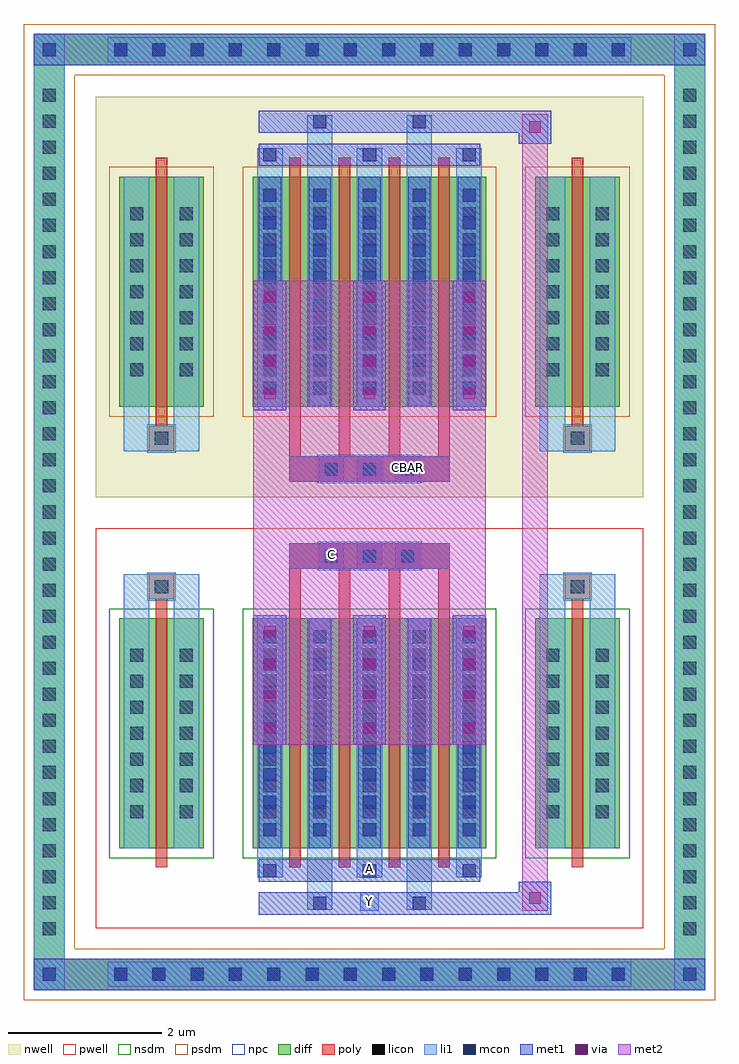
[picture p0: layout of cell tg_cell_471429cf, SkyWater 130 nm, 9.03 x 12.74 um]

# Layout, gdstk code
import gdstk
lib = gdstk.Library(unit=1e-6, precision=5e-09)
def R(c, l, rs):  # rectangles x0, y0, x1, y1
    for r in rs: c.add(gdstk.rectangle(r[:2], r[2:], *l))
def A(c, l, x, y, w, h, nx, ny, dx, dy):  # array of equal rectangles
    R(c, l, [(x+i*dx, y+j*dy, x+i*dx+w, y+j*dy+h) for i in range(nx) for j in range(ny)])
def P(c, l, *ps):  # polygons
    for p in ps: c.add(gdstk.Polygon(p, *l))
nwell = (64, 20)
pwell = (64, 44)
diff = (65, 20)
poly = (66, 20)
licon = (66, 44)
li1 = (67, 20)
mcon = (67, 44)
met1 = (68, 20)
via = (68, 44)
met2 = (69, 20)
nsdm = (93, 44)
psdm = (94, 20)
npc = (95, 20)

tg_cell_471429cf = lib.new_cell('tg_cell_471429cf')
R(tg_cell_471429cf, nwell, [(-3.575,3.015,3.575,8.24)])
R(tg_cell_471429cf, pwell, [(-3.575,-2.615,3.575,2.61)])
A(tg_cell_471429cf, diff, -3.455, -3.42, 0.41, 0.41, 14, 2, 0.5, 12.07)
A(tg_cell_471429cf, diff, -4.385, -2.825, 0.41, 0.41, 1, 33, 0, 0.34)
A(tg_cell_471429cf, diff, 3.975, -2.825, 0.41, 0.41, 1, 33, 0, 0.34)
R(tg_cell_471429cf, diff, [(-3.455,-3.42,3.455,-3.01), (-4.385,-2.825,-3.975,8.465), (3.975,-2.825,4.385,8.465), (-3.265,-1.57,-2.165,1.43), (-1.525,-1.57,1.525,1.43), (2.165,-1.57,3.265,1.43), (-3.265,4.195,-2.165,7.195), (-1.525,4.195,1.525,7.195), (2.165,4.195,3.265,7.195), (-3.455,8.65,3.455,9.06)])
P(tg_cell_471429cf, diff, [(4.385,9.06),(-4.385,9.06),(-4.385,-3.01),(-3.975,-3.01),(-3.975,8.65),(3.975,8.65),(3.975,-3.01),(-3.975,-3.01),(-4.385,-3.01),(-4.385,-3.42),(4.385,-3.42)])
A(tg_cell_471429cf, poly, -1.05, -1.82, 0.15, 3.5, 4, 2, 0.65, 5.765)
A(tg_cell_471429cf, poly, -1.05, 1.68, 0.15, 0.4, 4, 2, 0.65, 1.865)
A(tg_cell_471429cf, poly, -0.665, 2.08, 0.33, 0.33, 3, 2, 0.5, 1.135)
R(tg_cell_471429cf, poly, [(-2.79,-1.82,-2.64,1.68), (2.64,-1.82,2.79,1.68), (-2.88,1.68,-2.55,2.01), (-2.88,1.68,-2.55,2.01), (2.55,1.68,2.88,2.01), (2.55,1.68,2.88,2.01), (-1.05,2.08,1.05,2.41), (-1.05,3.215,1.05,3.545), (-2.88,3.615,-2.55,3.945), (-2.88,3.615,-2.55,3.945), (2.55,3.615,2.88,3.945), (2.55,3.615,2.88,3.945), (-2.79,3.945,-2.64,7.445), (2.64,3.945,2.79,7.445)])
A(tg_cell_471429cf, licon, -3.335, -3.3, 0.17, 0.17, 14, 2, 0.5, 12.07)
A(tg_cell_471429cf, licon, -4.265, -2.705, 0.17, 0.17, 1, 33, 0, 0.34)
A(tg_cell_471429cf, licon, 4.095, -2.705, 0.17, 0.17, 1, 33, 0, 0.34)
A(tg_cell_471429cf, licon, -3.125, -1.175, 0.17, 0.17, 1, 7, 0, 0.34)
A(tg_cell_471429cf, licon, -2.475, -1.175, 0.17, 0.17, 1, 7, 0, 0.34)
A(tg_cell_471429cf, licon, -1.385, -1.175, 0.17, 0.17, 5, 7, 0.65, 0.34)
A(tg_cell_471429cf, licon, 2.305, -1.175, 0.17, 0.17, 1, 7, 0, 0.34)
A(tg_cell_471429cf, licon, 2.955, -1.175, 0.17, 0.17, 1, 7, 0, 0.34)
A(tg_cell_471429cf, licon, -0.585, 2.16, 0.17, 0.17, 3, 2, 0.5, 1.135)
A(tg_cell_471429cf, licon, -3.125, 4.59, 0.17, 0.17, 1, 7, 0, 0.34)
A(tg_cell_471429cf, licon, -2.475, 4.59, 0.17, 0.17, 1, 7, 0, 0.34)
A(tg_cell_471429cf, licon, -1.385, 4.59, 0.17, 0.17, 5, 7, 0.65, 0.34)
A(tg_cell_471429cf, licon, 2.305, 4.59, 0.17, 0.17, 1, 7, 0, 0.34)
A(tg_cell_471429cf, licon, 2.955, 4.59, 0.17, 0.17, 1, 7, 0, 0.34)
R(tg_cell_471429cf, licon, [(-2.8,1.76,-2.63,1.93), (2.63,1.76,2.8,1.93), (-2.8,3.695,-2.63,3.865), (2.63,3.695,2.8,3.865)])
A(tg_cell_471429cf, li1, -3.415, -3.38, 0.33, 0.33, 14, 2, 0.5, 12.07)
A(tg_cell_471429cf, li1, -4.345, -2.785, 0.33, 0.33, 1, 33, 0, 0.34)
A(tg_cell_471429cf, li1, 4.015, -2.785, 0.33, 0.33, 1, 33, 0, 0.34)
A(tg_cell_471429cf, li1, -1.465, -1.945, 0.33, 0.375, 3, 2, 1.3, 9.14)
A(tg_cell_471429cf, li1, -1.385, -1.945, 0.17, 0.17, 3, 2, 1.3, 9.345)
A(tg_cell_471429cf, li1, -1.465, -1.57, 0.33, 3, 5, 2, 0.65, 5.765)
A(tg_cell_471429cf, li1, -1.385, -1.415, 0.17, 0.17, 5, 8, 0.65, 0.36)
A(tg_cell_471429cf, li1, -1.385, -1.415, 0.17, 2.69, 5, 2, 0.65, 5.765)
A(tg_cell_471429cf, li1, -3.205, -1.255, 0.33, 0.33, 1, 7, 0, 0.34)
A(tg_cell_471429cf, li1, -2.555, -1.255, 0.33, 0.33, 1, 7, 0, 0.34)
A(tg_cell_471429cf, li1, -1.465, -1.255, 0.33, 0.33, 5, 7, 0.65, 0.34)
A(tg_cell_471429cf, li1, 2.225, -1.255, 0.33, 0.33, 1, 7, 0, 0.34)
A(tg_cell_471429cf, li1, 2.875, -1.255, 0.33, 0.33, 1, 7, 0, 0.34)
A(tg_cell_471429cf, li1, -0.665, 2.08, 0.33, 0.33, 3, 2, 0.5, 1.135)
A(tg_cell_471429cf, li1, -1.385, 4.35, 0.17, 0.17, 5, 8, 0.65, 0.36)
A(tg_cell_471429cf, li1, -3.205, 4.51, 0.33, 0.33, 1, 7, 0, 0.34)
A(tg_cell_471429cf, li1, -2.555, 4.51, 0.33, 0.33, 1, 7, 0, 0.34)
A(tg_cell_471429cf, li1, -1.465, 4.51, 0.33, 0.33, 5, 7, 0.65, 0.34)
A(tg_cell_471429cf, li1, 2.225, 4.51, 0.33, 0.33, 1, 7, 0, 0.34)
A(tg_cell_471429cf, li1, 2.875, 4.51, 0.33, 0.33, 1, 7, 0, 0.34)
R(tg_cell_471429cf, li1, [(-4.385,-3.42,-3.975,-3.01), (3.975,-3.42,4.385,-3.01), (-3.415,-3.38,3.415,-3.05), (-4.265,-3.3,-4.095,-3.13), (-4.265,-3.3,-4.095,-3.13), (4.095,-3.3,4.265,-3.13), (4.095,-3.3,4.265,-3.13), (-4.385,-3.01,-3.975,8.65), (3.975,-3.01,4.385,8.65), (-0.12,-2.385,0.12,-2.145), (-0.815,-2.375,-0.485,-1.57), (-0.735,-2.375,-0.565,-2.205), (0.485,-2.375,0.815,-1.57), (0.565,-2.375,0.735,-2.205), (-0.12,-1.955,0.12,-1.715), (-3.205,-1.57,-2.875,1.43), (-2.555,-1.57,-2.225,1.43), (2.225,-1.57,2.555,1.43), (2.875,-1.57,3.205,1.43), (-3.205,1.43,-2.875,2.01), (-2.555,1.43,-2.225,2.01), (2.225,1.43,2.555,2.01), (2.875,1.43,3.205,2.01), (-3.205,1.68,-2.88,2.01), (-2.88,1.68,-2.55,2.01), (-2.55,1.68,-2.225,2.01), (2.225,1.68,2.55,2.01), (2.55,1.68,2.88,2.01), (2.88,1.68,3.205,2.01), (-0.62,2.15,-0.38,2.39), (0.38,3.285,0.62,3.525), (-3.205,3.615,-2.88,3.945), (-3.205,3.615,-2.875,4.195), (-2.88,3.615,-2.55,3.945), (-2.555,3.615,-2.225,4.195), (-2.55,3.615,-2.225,3.945), (2.225,3.615,2.55,3.945), (2.225,3.615,2.555,4.195), (2.55,3.615,2.88,3.945), (2.875,3.615,3.205,4.195), (2.88,3.615,3.205,3.945), (-3.205,4.195,-2.875,7.195), (-2.555,4.195,-2.225,7.195), (2.225,4.195,2.555,7.195), (2.875,4.195,3.205,7.195), (-0.815,7.195,-0.485,8), (0.485,7.195,0.815,8), (-0.735,7.83,-0.565,8), (0.565,7.83,0.735,8), (-4.385,8.65,-3.975,9.06), (3.975,8.65,4.385,9.06), (-3.415,8.69,3.415,9.02), (-4.265,8.77,-4.095,8.94), (-4.265,8.77,-4.095,8.94), (4.095,8.77,4.265,8.94), (4.095,8.77,4.265,8.94)])
A(tg_cell_471429cf, mcon, -3.335, -3.3, 0.17, 0.17, 14, 2, 0.5, 12.07)
A(tg_cell_471429cf, mcon, -1.385, -1.945, 0.17, 0.17, 3, 2, 1.3, 9.345)
A(tg_cell_471429cf, mcon, -1.385, -1.415, 0.17, 0.17, 5, 8, 0.65, 0.36)
A(tg_cell_471429cf, mcon, -0.585, 2.16, 0.17, 0.17, 3, 2, 0.5, 1.135)
A(tg_cell_471429cf, mcon, -1.385, 4.35, 0.17, 0.17, 5, 8, 0.65, 0.36)
R(tg_cell_471429cf, mcon, [(-4.265,-3.3,-4.095,-3.13), (4.095,-3.3,4.265,-3.13), (-0.735,-2.375,-0.565,-2.205), (0.565,-2.375,0.735,-2.205), (-0.735,7.83,-0.565,8), (0.565,7.83,0.735,8), (-4.265,8.77,-4.095,8.94), (4.095,8.77,4.265,8.94)])
A(tg_cell_471429cf, met1, -3.395, -3.36, 0.29, 0.29, 14, 2, 0.5, 12.07)
A(tg_cell_471429cf, met1, -1.445, -2.005, 0.29, 0.29, 3, 2, 1.3, 9.345)
A(tg_cell_471429cf, met1, -1.445, -1.57, 0.29, 3, 5, 2, 0.65, 5.765)
A(tg_cell_471429cf, met1, -1.445, -1.475, 0.29, 0.29, 5, 8, 0.65, 0.36)
A(tg_cell_471429cf, met1, -0.645, 2.1, 0.29, 0.29, 3, 2, 0.5, 1.135)
A(tg_cell_471429cf, met1, -1.445, 4.29, 0.29, 0.29, 5, 8, 0.65, 0.36)
R(tg_cell_471429cf, met1, [(-4.385,-3.42,-3.975,-3.01), (-4.385,-3.42,-3.975,-3.01), (-3.975,-3.42,3.975,-3.01), (3.975,-3.42,4.385,-3.01), (3.975,-3.42,4.385,-3.01), (-4.325,-3.36,-4.035,-3.07), (4.035,-3.36,4.325,-3.07), (-1.445,-2.435,1.445,-2.145), (-0.795,-2.435,-0.505,-2.145), (0.505,-2.435,0.795,-2.145), (1.445,-2.435,2.375,-2.145), (1.945,-2.435,2.375,-2.005), (-1.445,-2.005,1.445,-1.715), (-1.515,-0.215,-1.085,0.215), (-1.515,-0.215,-1.085,0.215), (-0.215,-0.215,0.215,0.215), (-0.215,-0.215,0.215,0.215), (1.085,-0.215,1.515,0.215), (1.085,-0.215,1.515,0.215), (-1.515,0.205,-1.085,0.635), (-1.515,0.205,-1.085,0.635), (-0.215,0.205,0.215,0.635), (-0.215,0.205,0.215,0.635), (1.085,0.205,1.515,0.635), (1.085,0.205,1.515,0.635), (-1.515,0.625,-1.085,1.055), (-1.515,0.625,-1.085,1.055), (-0.215,0.625,0.215,1.055), (-0.215,0.625,0.215,1.055), (1.085,0.625,1.515,1.055), (1.085,0.625,1.515,1.055), (-1.515,1.045,-1.085,1.475), (-1.515,1.045,-1.085,1.475), (-0.215,1.045,0.215,1.475), (-0.215,1.045,0.215,1.475), (1.085,1.045,1.515,1.475), (1.085,1.045,1.515,1.475), (-1.05,2.08,1.05,2.41), (-1.05,3.215,1.05,3.545), (-1.515,4.15,-1.085,4.58), (-1.515,4.15,-1.085,4.58), (-0.215,4.15,0.215,4.58), (-0.215,4.15,0.215,4.58), (1.085,4.15,1.515,4.58), (1.085,4.15,1.515,4.58), (-1.515,4.57,-1.085,5), (-1.515,4.57,-1.085,5), (-0.215,4.57,0.215,5), (-0.215,4.57,0.215,5), (1.085,4.57,1.515,5), (1.085,4.57,1.515,5), (-1.515,4.99,-1.085,5.42), (-1.515,4.99,-1.085,5.42), (-0.215,4.99,0.215,5.42), (-0.215,4.99,0.215,5.42), (1.085,4.99,1.515,5.42), (1.085,4.99,1.515,5.42), (-1.515,5.41,-1.085,5.84), (-1.515,5.41,-1.085,5.84), (-0.215,5.41,0.215,5.84), (-0.215,5.41,0.215,5.84), (1.085,5.41,1.515,5.84), (1.085,5.41,1.515,5.84), (-1.445,7.34,1.445,7.63), (1.945,7.63,2.375,8.06), (-1.445,7.77,1.445,8.06), (-0.795,7.77,-0.505,8.06), (0.505,7.77,0.795,8.06), (1.445,7.77,2.375,8.06), (-4.385,8.65,-3.975,9.06), (-4.385,8.65,-3.975,9.06), (-3.975,8.65,3.975,9.06), (3.975,8.65,4.385,9.06), (3.975,8.65,4.385,9.06), (-4.325,8.71,-4.035,9), (4.035,8.71,4.325,9)])
A(tg_cell_471429cf, via, -1.375, -0.075, 0.15, 0.15, 3, 4, 1.3, 0.42)
A(tg_cell_471429cf, via, -1.375, 4.29, 0.15, 0.15, 3, 4, 1.3, 0.42)
R(tg_cell_471429cf, via, [(2.085,-2.295,2.235,-2.145), (2.085,7.77,2.235,7.92)])
A(tg_cell_471429cf, met2, -1.515, -0.215, 0.43, 0.43, 3, 4, 1.3, 0.42)
A(tg_cell_471429cf, met2, -1.465, -0.165, 0.33, 0.33, 3, 4, 1.3, 0.42)
A(tg_cell_471429cf, met2, -1.515, 4.15, 0.43, 0.43, 3, 4, 1.3, 0.42)
A(tg_cell_471429cf, met2, -1.465, 4.2, 0.33, 0.33, 3, 4, 1.3, 0.42)
R(tg_cell_471429cf, met2, [(1.995,-2.385,2.325,-2.055), (1.995,-2.385,2.325,8.01), (-1.515,-0.215,1.515,5.84), (1.995,7.68,2.325,8.01)])
P(tg_cell_471429cf, met2, [(2.325,-2.385),(2.325,-2.385),(2.325,-2.055),(2.325,-2.055)],
  [(2.325,7.68),(2.325,7.68),(2.325,8.01),(2.325,8.01)])
R(tg_cell_471429cf, nsdm, [(-3.395,-1.7,-2.035,1.56), (-1.655,-1.7,1.655,1.56), (2.035,-1.7,3.395,1.56)])
R(tg_cell_471429cf, psdm, [(-3.395,4.065,-2.035,7.325), (-1.655,4.065,1.655,7.325), (2.035,4.065,3.395,7.325)])
P(tg_cell_471429cf, psdm, [(4.515,9.19),(-4.515,9.19),(-4.515,-2.88),(-3.845,-2.88),(-3.845,8.52),(3.845,8.52),(3.845,-2.88),(-3.845,-2.88),(-4.515,-2.88),(-4.515,-3.55),(4.515,-3.55)])
A(tg_cell_471429cf, npc, -0.685, 2.06, 0.37, 0.37, 3, 2, 0.5, 1.135)
R(tg_cell_471429cf, npc, [(-2.9,1.66,-2.53,2.03), (2.53,1.66,2.9,2.03), (-0.685,2.06,0.185,2.43), (-0.685,2.06,0.185,2.43), (-0.185,2.06,0.685,2.43), (-0.185,2.06,0.685,2.43), (-0.685,3.195,0.185,3.565), (-0.685,3.195,0.185,3.565), (-0.185,3.195,0.685,3.565), (-0.185,3.195,0.685,3.565), (-2.9,3.595,-2.53,3.965), (2.53,3.595,2.9,3.965)])
tg_cell_471429cf.add(gdstk.Label('CBAR', (0.5,3.405), layer=67, texttype=5))
tg_cell_471429cf.add(gdstk.Label('C', (-0.5,2.27), layer=67, texttype=5))
tg_cell_471429cf.add(gdstk.Label('Y', (0,-2.265), layer=67, texttype=5))
tg_cell_471429cf.add(gdstk.Label('A', (0,-1.835), layer=67, texttype=5))

lib.write_gds('tg_cell_471429cf.gds')
